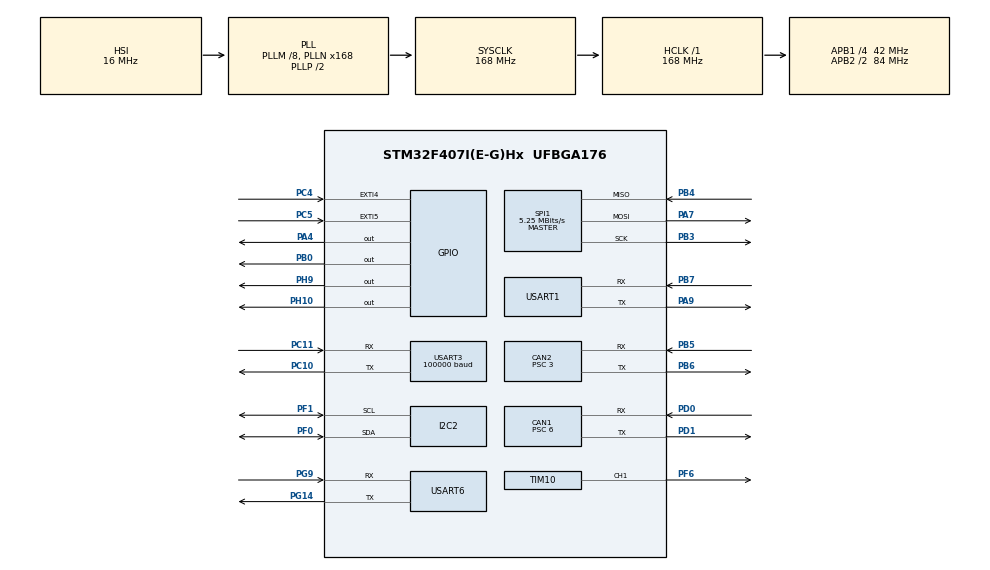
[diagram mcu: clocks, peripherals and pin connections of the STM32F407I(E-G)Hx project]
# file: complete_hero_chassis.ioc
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CAN1.BS1=CAN_BS1_3TQ
CAN1.BS2=CAN_BS2_3TQ
CAN1.CalculateBaudRate=1000000
CAN1.CalculateTimeBit=1000
CAN1.CalculateTimeQuantum=142.85714285714286
CAN1.Prescaler=6
CAN2.BS1=CAN_BS1_10TQ
CAN2.BS2=CAN_BS2_3TQ
CAN2.CalculateBaudRate=1000000
CAN2.CalculateTimeBit=1000
CAN2.CalculateTimeQuantum=71.42857142857143
CAN2.Prescaler=3
Dma.I2C2_RX.1.Direction=DMA_PERIPH_TO_MEMORY
Dma.I2C2_RX.1.FIFOMode=DMA_FIFOMODE_DISABLE
Dma.I2C2_RX.1.Instance=DMA1_Stream2
Dma.I2C2_RX.1.MemDataAlignment=DMA_MDATAALIGN_BYTE
Dma.I2C2_RX.1.MemInc=DMA_MINC_ENABLE
Dma.I2C2_RX.1.Mode=DMA_NORMAL
Dma.I2C2_RX.1.PeriphDataAlignment=DMA_PDATAALIGN_BYTE
Dma.I2C2_RX.1.PeriphInc=DMA_PINC_DISABLE
Dma.I2C2_RX.1.Priority=DMA_PRIORITY_LOW
Dma.Request0=USART3_RX
Dma.Request1=I2C2_RX
Dma.Request2=USART1_TX
Dma.USART1_TX.2.Direction=DMA_MEMORY_TO_PERIPH
Dma.USART1_TX.2.FIFOMode=DMA_FIFOMODE_DISABLE
Dma.USART1_TX.2.Instance=DMA2_Stream7
Dma.USART1_TX.2.MemDataAlignment=DMA_MDATAALIGN_BYTE
Dma.USART1_TX.2.MemInc=DMA_MINC_ENABLE
Dma.USART1_TX.2.Mode=DMA_NORMAL
Dma.USART1_TX.2.PeriphDataAlignment=DMA_PDATAALIGN_BYTE
Dma.USART1_TX.2.PeriphInc=DMA_PINC_DISABLE
Dma.USART1_TX.2.Priority=DMA_PRIORITY_LOW
Dma.USART3_RX.0.Direction=DMA_PERIPH_TO_MEMORY
Dma.USART3_RX.0.FIFOMode=DMA_FIFOMODE_DISABLE
Dma.USART3_RX.0.Instance=DMA1_Stream1
Dma.USART3_RX.0.MemDataAlignment=DMA_MDATAALIGN_BYTE
Dma.USART3_RX.0.MemInc=DMA_MINC_ENABLE
Dma.USART3_RX.0.Mode=DMA_NORMAL
Dma.USART3_RX.0.PeriphDataAlignment=DMA_PDATAALIGN_BYTE
Dma.USART3_RX.0.PeriphInc=DMA_PINC_DISABLE
Dma.USART3_RX.0.Priority=DMA_PRIORITY_LOW
I2C2.I2C_Mode=I2C_Fast
Mcu.Family=STM32F4
Mcu.Name=STM32F407I(E-G)Hx
Mcu.Package=UFBGA176
NVIC.CAN1_RX0_IRQn=true\:0\:0\:false\:false\:true\:true\:true\:true
NVIC.CAN1_RX1_IRQn=true\:0\:0\:false\:false\:true\:true\:true\:true
NVIC.CAN2_RX0_IRQn=true\:0\:0\:false\:false\:true\:true\:true\:true
NVIC.CAN2_RX1_IRQn=true\:0\:0\:false\:false\:true\:true\:true\:true
NVIC.DMA1_Stream1_IRQn=true\:0\:0\:false\:false\:true\:false\:true\:true
NVIC.DMA1_Stream2_IRQn=true\:0\:0\:false\:false\:true\:false\:true\:true
NVIC.DMA2_Stream7_IRQn=true\:0\:0\:false\:false\:true\:false\:true\:true
NVIC.EXTI4_IRQn=true\:0\:0\:false\:false\:true\:true\:true\:true
NVIC.EXTI9_5_IRQn=true\:0\:0\:false\:false\:true\:true\:true\:true
NVIC.PriorityGroup=NVIC_PRIORITYGROUP_4
NVIC.SPI1_IRQn=true\:0\:0\:false\:false\:true\:true\:true\:true
NVIC.TIM8_BRK_TIM12_IRQn=true\:0\:0\:false\:false\:true\:true\:true\:true
NVIC.TIM8_TRG_COM_TIM14_IRQn=true\:0\:0\:false\:false\:true\:true\:true\:true
NVIC.TIM8_UP_TIM13_IRQn=true\:0\:0\:false\:false\:true\:true\:true\:true
NVIC.USART1_IRQn=true\:0\:0\:false\:false\:true\:true\:true\:true
NVIC.USART3_IRQn=true\:0\:0\:false\:false\:true\:true\:true\:true
PA13.Mode=Serial_Wire
PA13.Signal=SYS_JTMS-SWDIO
PA14.Mode=Serial_Wire
PA14.Signal=SYS_JTCK-SWCLK
PA4.PinState=GPIO_PIN_SET
PA4.Signal=GPIO_Output
PA7.Mode=Full_Duplex_Master
PA7.Signal=SPI1_MOSI
PA9.Mode=Asynchronous
PA9.Signal=USART1_TX
PB0.PinState=GPIO_PIN_SET
PB0.Signal=GPIO_Output
PB3.Mode=Full_Duplex_Master
PB3.Signal=SPI1_SCK
PB4.Mode=Full_Duplex_Master
PB4.Signal=SPI1_MISO
PB5.Mode=CAN_Activate
PB5.Signal=CAN2_RX
PB6.Mode=CAN_Activate
PB6.Signal=CAN2_TX
PB7.Mode=Asynchronous
PB7.Signal=USART1_RX
PC10.Mode=Asynchronous
PC10.Signal=USART3_TX
PC11.Mode=Asynchronous
PC11.Signal=USART3_RX
PC4.Signal=GPXTI4
PC5.Signal=GPXTI5
PD0.Mode=CAN_Activate
PD0.Signal=CAN1_RX
PD1.Mode=CAN_Activate
PD1.Signal=CAN1_TX
PF0.Mode=I2C
PF0.Signal=I2C2_SDA
PF1.Mode=I2C
PF1.Signal=I2C2_SCL
PF6.Signal=S_TIM10_CH1
PG14.Mode=Asynchronous
PG14.Signal=USART6_TX
PG9.Mode=Asynchronous
PG9.Signal=USART6_RX
PH0-OSC_IN.Mode=HSE-External-Oscillator
PH0-OSC_IN.Signal=RCC_OSC_IN
PH1-OSC_OUT.Mode=HSE-External-Oscillator
PH1-OSC_OUT.Signal=RCC_OSC_OUT
PH10.Signal=GPIO_Output
PH9.Signal=GPIO_Output
ProjectManager.HeapSize=0x800
ProjectManager.StackSize=0x2000
ProjectManager.TargetToolchain=MDK-ARM V5.32
RCC.48MHZClocksFreq_Value=84000000
RCC.AHBFreq_Value=168000000
RCC.APB1CLKDivider=RCC_HCLK_DIV4
RCC.APB1Freq_Value=42000000
RCC.APB1TimFreq_Value=84000000
RCC.APB2CLKDivider=RCC_HCLK_DIV2
RCC.APB2Freq_Value=84000000
RCC.APB2TimFreq_Value=168000000
RCC.CortexFreq_Value=168000000
RCC.HCLKFreq_Value=168000000
RCC.HSE_VALUE=25000000
RCC.HSI_VALUE=16000000
RCC.LSE_VALUE=32768
RCC.PLLM=8
RCC.PLLN=168
RCC.SYSCLKFreq_VALUE=168000000
RCC.SYSCLKSource=RCC_SYSCLKSOURCE_PLLCLK
RCC.VCOOutputFreq_Value=336000000
SH.S_TIM10_CH1.0=TIM10_CH1,PWM Generation1 CH1
SPI1.BaudRatePrescaler=SPI_BAUDRATEPRESCALER_16
SPI1.CLKPhase=SPI_PHASE_2EDGE
SPI1.CLKPolarity=SPI_POLARITY_HIGH
SPI1.CalculateBaudRate=5.25 MBits/s
SPI1.Direction=SPI_DIRECTION_2LINES
SPI1.Mode=SPI_MODE_MASTER
SPI1.VirtualType=VM_MASTER
TIM10.Channel=TIM_CHANNEL_1
TIM10.Period=2000
TIM12.AutoReloadPreload=TIM_AUTORELOAD_PRELOAD_ENABLE
TIM12.Period=2500-1
TIM12.Prescaler=84-1
TIM13.Period=5000-1
TIM13.Prescaler=84-1
TIM14.Period=1000-1
TIM14.Prescaler=84-1
USART1.VirtualMode=VM_ASYNC
USART3.BaudRate=100000
USART3.Mode=MODE_RX
USART3.Parity=PARITY_EVEN
USART3.VirtualMode=VM_ASYNC
USART3.WordLength=WORDLENGTH_9B
USART6.VirtualMode=VM_ASYNC
VP_TIM10_VS_ClockSourceINT.Mode=Enable_Timer
VP_TIM12_VS_ClockSourceINT.Mode=Internal
VP_TIM13_VS_ClockSourceINT.Mode=Enable_Timer
VP_TIM14_VS_ClockSourceINT.Mode=Enable_Timer
board=custom

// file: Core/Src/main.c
/* USER CODE BEGIN Header */
/**
  ******************************************************************************
  * @file           : main.c
  * @brief          : Main program body
  ******************************************************************************
  * @attention
  *
  * Copyright (c) 2026 STMicroelectronics.
  * All rights reserved.
  *
  * This software is licensed under terms that can be found in the LICENSE file
  * in the root directory of this software component.
  * If no LICENSE file comes with this software, it is provided AS-IS.
  *
  ******************************************************************************
  */
/* USER CODE END Header */
#include "main.h"
#include "can.h"
#include "dma.h"
#include "i2c.h"
#include "spi.h"
#include "tim.h"
#include "usart.h"
#include "gpio.h"

/* USER CODE BEGIN Includes */
#include "control_dbus.h"
#include "dbus.h"
#include "M3508.h"
#include "drv_can.h"
#include "dm_motor.h"
#include "imu_data.h"
#include "bsp_imu.h"
#include "dm_joint_ctrl.h"
#include "power_meter.h"
#include "power_ctrl.h"
#include "MLX90640_APP.h"
#include "vofa.h"
/* USER CODE END Includes */

/* USER CODE BEGIN PV */
extern DMA_HandleTypeDef hdma_usart3_rx;
BMI088_Handle_t imu1;
extern joint_ctrl_para imu_ctrler;
extern motor_para M35085,M35086,M35087,M35088;
extern dm_motor_para DM43401,DM43402,DM43403,DM43404;
extern dbus_struct dbus_ctrl_data;
extern trans_dbus_data dbuscontrol;
extern condition_state condition_ctrler;
extern powMeter_capacitorBank_t powMeter_capBank_info;
extern power_ctrl power_ctrler;
extern power_model_t power_model;
extern motion_state motion_ctrler;
float USART_I[8]={0};
float power_send[3] = {0};
uint8_t tail[4] = {0x00, 0x00, 0x80, 0x7f};
extern float imageData[768];
int result[2];
/* USER CODE END PV */

void SystemClock_Config(void);

int main(void)
{

  /* MCU Configuration--------------------------------------------------------*/

  /* Reset of all peripherals, Initializes the Flash interface and the Systick. */
  HAL_Init();

  /* Configure the system clock */
  SystemClock_Config();

  /* Initialize all configured peripherals */
  MX_GPIO_Init();
  MX_DMA_Init();
  MX_CAN1_Init();
  MX_CAN2_Init();
  MX_SPI1_Init();
  MX_USART3_UART_Init();
  MX_TIM10_Init();
  MX_TIM12_Init();
  MX_TIM13_Init();
  MX_TIM14_Init();
  MX_USART6_UART_Init();
  MX_I2C2_Init();
  MX_USART1_UART_Init();
  /* USER CODE BEGIN 2 */

    result[0] = MLX90640_APP_Init();//mlx90640初始化

  BMI088_Full_Init(&imu1);

	dm_motor_init(&DM43401,12.5,10,18,50.0f,4.0f,0x01,0x141);    //达妙的MIT暂时给60
  dm_motor_init(&DM43402,12.5,10,18,35.0f,4.0f,0x02,0x142);    //自己的MIT暂时给40 偏软
  dm_motor_init(&DM43403,12.5,10,18,35.0f,4.0f,0x03,0x143);
  dm_motor_init(&DM43404,12.5,10,18,50.0f,4.0f,0x04,0x144);
  DM43401.P_des=2.0f;
  DM43402.P_des=1.0f;
  DM43403.P_des=-1.0f;
  DM43404.P_des=-2.0f;

  motor_enable(&hcan2,&DM43401);
  motor_enable(&hcan2,&DM43402);
  motor_enable(&hcan2,&DM43403);
  motor_enable(&hcan2,&DM43404);

	imu_ctrler.tar_h = 0.335f; //dm
	imu_ctrler.tar_roll = 0.0f;
  imu_ctrler.tar_pitch = 0.0f;

	imu_ctrler.kp_h = 40.0f;
  imu_ctrler.kd_h = 1.0f;
  imu_ctrler.kp_pitch = 0.4f;   //0.3
	imu_ctrler.ki_pitch = 0.0f;   //0.22f
  imu_ctrler.kd_pitch = 0.05f;   // 0.1f
  imu_ctrler.kp_roll =0.4f;   //0.3
	imu_ctrler.ki_roll = 0.0f;   //0.22f
  imu_ctrler.kd_roll = 0.02f;  // 0.09f

  M3508_init(2.8f,0.1f,0.02f,&M35085,&M35086,&M35087,&M35088);
  power_ctrl_init(&power_ctrler,70,&powMeter_capBank_info,0.25f,0.08f,0.0f);
  power_model_init(&power_model,&powMeter_capBank_info,&M35085);
  set_power_model_para(&power_model, 1.7936448373, 6.8421681946e-04, -4.1929843501e-05,
  5.9043844076e-07, 2.7316097511e-07, 2.8504011479e-07);
  dbusctrl_init(&dbuscontrol,0.2f,0.4f);

  CAN_Filter_Mask_Config(&hcan1,CAN_FILTER(13)|CAN_FIFO_0|CAN_STDID|CAN_DATA_TYPE,0x05,0x00);//需要根据电机id修改
	CAN_Filter_Mask_Config(&hcan2,CAN_FILTER(14)|CAN_FIFO_1|CAN_STDID|CAN_DATA_TYPE,0x200,0x700);//需要根据电机id修改
  CAN_Filter_Mask_Config(&hcan2,CAN_FILTER(15)|CAN_FIFO_1|CAN_STDID|CAN_DATA_TYPE,0x140,0x700);//需要根据电机id修改

  HAL_CAN_ActivateNotification(&hcan1,CAN_IT_RX_FIFO0_MSG_PENDING);
	HAL_CAN_ActivateNotification(&hcan2,CAN_IT_RX_FIFO1_MSG_PENDING);

  HAL_CAN_Start(&hcan1);
  HAL_CAN_Start(&hcan2);

#if MODE_CHOICE == CHASSIS_ONLY
	dbus_init(&huart3, &hdma_usart3_rx);
#endif

	__HAL_TIM_SET_COUNTER(&htim13, 1250);

	HAL_TIM_Base_Start_IT(&htim13);
	HAL_TIM_Base_Start_IT(&htim12);

    //result  = MLX90640_I2CRead(0x33,0x800D,1,&test_data);
  /* USER CODE END 2 */

  /* Infinite loop */
  /* USER CODE BEGIN WHILE */
  while (1)
  {
  #if MODE_CHOICE == CHASSIS_FOLLOW_GIMBAL
    trans_dbus(dbuscontrol.raw_ch[3],dbuscontrol.raw_ch[2],dbuscontrol.raw_ch[0],&dbuscontrol);
    if(condition_ctrler==follow_gimbal){
        dbus_Mec_process(&dbuscontrol,&M35085,&M35086,&M35087,&M35088,follow_gimbal_ctrl(&dbuscontrol,&imu1));
    }
    else{
        dbus_Mec_process(&dbuscontrol,&M35085,&M35086,&M35087,&M35088,0);
    }
  #endif

  #if MODE_CHOICE == CHASSIS_ONLY
    trans_dbus(dbus_ctrl_data.channel.CH[3],dbus_ctrl_data.channel.CH[2],dbus_ctrl_data.channel.CH[0],
        dbus_ctrl_data.channel.s1,&dbuscontrol,&DM43401,&DM43404);
    dbus_Mec_process(&dbuscontrol,&M35085,&M35086,&M35087,&M35088,dbuscontrol.ch[0]);
  #endif

  result[1] = MLX90640_APP_Task();

		power_send[0]=powMeter_capBank_info.P_x1W_chassis;
		power_send[1]=calc_power_model(&power_model);
		//power_send[1]=M35085.current;
		//power_send[2]=M35085.speed_now;
		HAL_UART_Transmit(&huart6, (uint8_t*)power_send, sizeof(power_send), HAL_MAX_DELAY);
		HAL_UART_Transmit(&huart6, tail, 4, HAL_MAX_DELAY);
		HAL_Delay(25);
		Temp_Control_Task(&imu1);
    /* USER CODE END WHILE */

  }
}

void SystemClock_Config(void)
{
  RCC_OscInitTypeDef RCC_OscInitStruct = {0};
  RCC_ClkInitTypeDef RCC_ClkInitStruct = {0};

  /** Configure the main internal regulator output voltage
  */
  __HAL_RCC_PWR_CLK_ENABLE();
  __HAL_PWR_VOLTAGESCALING_CONFIG(PWR_REGULATOR_VOLTAGE_SCALE1);

  /** Initializes the RCC Oscillators according to the specified parameters
  * in the RCC_OscInitTypeDef structure.
  */
  RCC_OscInitStruct.OscillatorType = RCC_OSCILLATORTYPE_HSI;
  RCC_OscInitStruct.HSIState = RCC_HSI_ON;
  RCC_OscInitStruct.HSICalibrationValue = RCC_HSICALIBRATION_DEFAULT;
  RCC_OscInitStruct.PLL.PLLState = RCC_PLL_ON;
  RCC_OscInitStruct.PLL.PLLSource = RCC_PLLSOURCE_HSI;
  RCC_OscInitStruct.PLL.PLLM = 8;
  RCC_OscInitStruct.PLL.PLLN = 168;
  RCC_OscInitStruct.PLL.PLLP = RCC_PLLP_DIV2;
  RCC_OscInitStruct.PLL.PLLQ = 4;
  if (HAL_RCC_OscConfig(&RCC_OscInitStruct) != HAL_OK)
  {
    Error_Handler();
  }

  /** Initializes the CPU, AHB and APB buses clocks
  */
  RCC_ClkInitStruct.ClockType = RCC_CLOCKTYPE_HCLK|RCC_CLOCKTYPE_SYSCLK
                              |RCC_CLOCKTYPE_PCLK1|RCC_CLOCKTYPE_PCLK2;
  RCC_ClkInitStruct.SYSCLKSource = RCC_SYSCLKSOURCE_PLLCLK;
  RCC_ClkInitStruct.AHBCLKDivider = RCC_SYSCLK_DIV1;
  RCC_ClkInitStruct.APB1CLKDivider = RCC_HCLK_DIV4;
  RCC_ClkInitStruct.APB2CLKDivider = RCC_HCLK_DIV2;

  if (HAL_RCC_ClockConfig(&RCC_ClkInitStruct, FLASH_LATENCY_5) != HAL_OK)
  {
    Error_Handler();
  }
}

void Error_Handler(void)
{
  __disable_irq();
  while (1)
  {
  }
}
